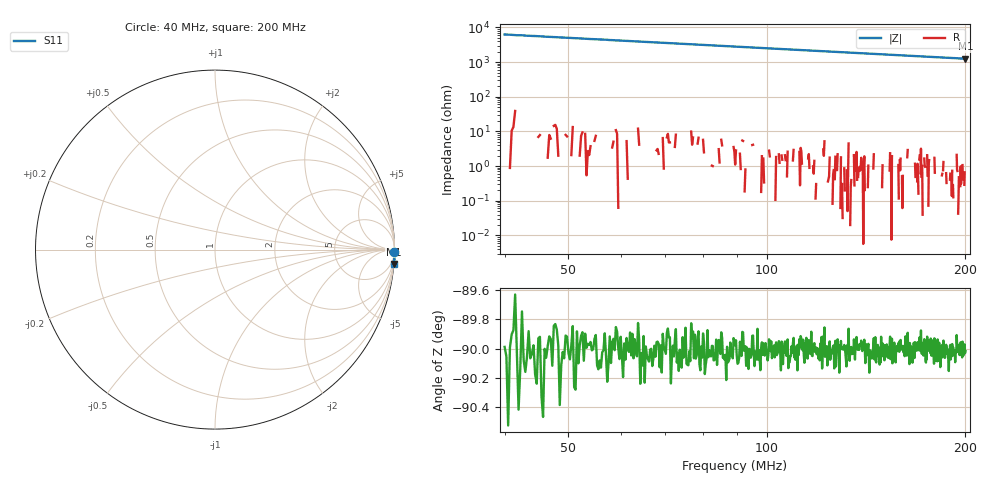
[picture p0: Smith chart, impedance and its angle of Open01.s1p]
# Hz S RI R 50
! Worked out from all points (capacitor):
!   641 points, 40 MHz to 200 MHz, reference 50 ohm
!   read as one part to ground: C = 634 fF near 40.75 MHz
!   lowest |Z| = 1.25 kohm at 200 MHz (marker M1)
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4e7  0.9999 -0.0159
4.075e7  0.9999 -0.0161
4.35e7  0.9998 -0.0173
4.5e7  0.9998 -0.0179
4.725e7  0.9999 -0.0188
6e7  0.9997 -0.0239
8e7  0.9994 -0.0319
1e8  0.9992 -0.0399
1.2e8  0.9989 -0.0478
1.2575e8  0.9987 -0.0501
1.29e8  0.9987 -0.0513
1.3475e8  0.9986 -0.0536
1.4e8  0.9984 -0.0559
1.435e8  0.9984 -0.0571
1.4525e8  0.9983 -0.0577
1.54e8  0.9982 -0.0613
1.5575e8  0.9981 -0.062
1.6e8  0.998 -0.0637
1.66e8  0.9979 -0.0661
1.68e8  0.9977 -0.0669
1.7075e8  0.9977 -0.0681
1.7475e8  0.9977 -0.0695
1.765e8  0.9976 -0.0702
1.8e8  0.9974 -0.0716
1.9e8  0.9972 -0.0756
1.9175e8  0.9971 -0.0763
1.9775e8  0.997 -0.0788
2e8  0.9969 -0.0796
